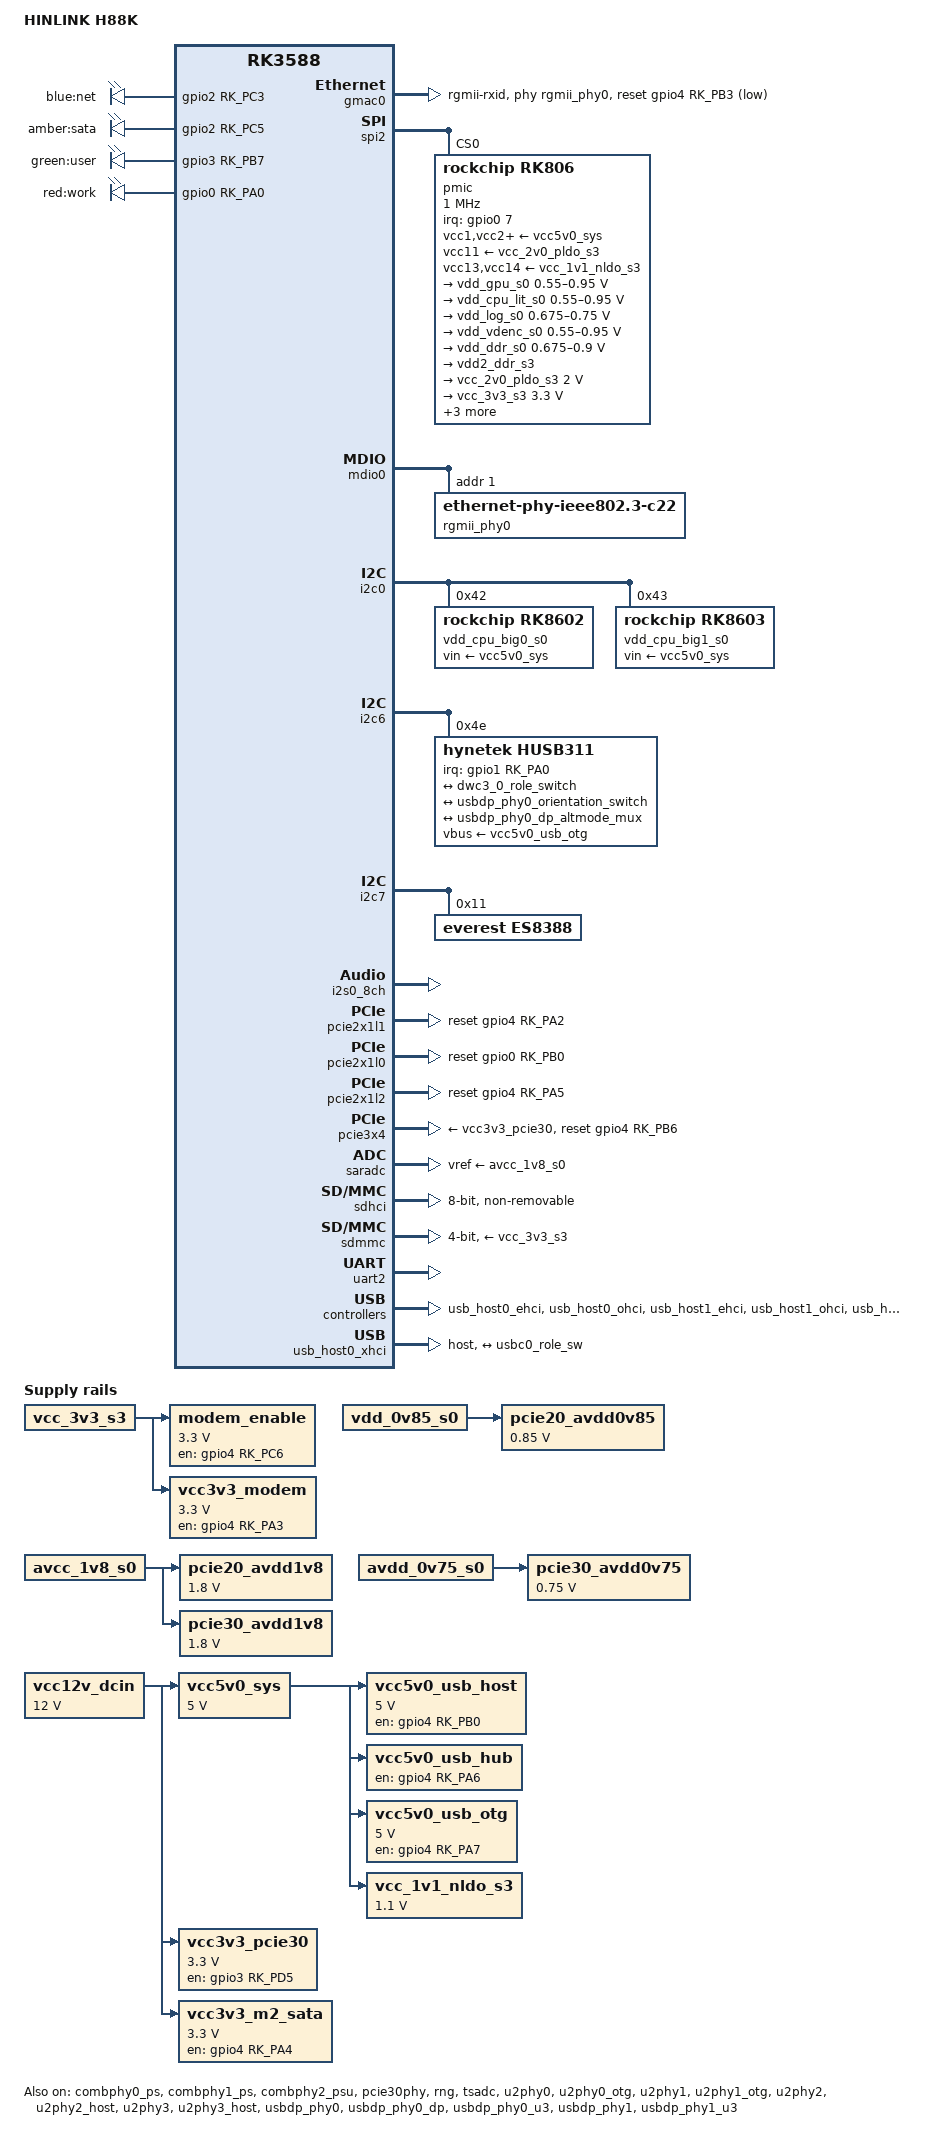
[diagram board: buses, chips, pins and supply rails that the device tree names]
// SPDX-License-Identifier: GPL-2.0-or-later OR MIT
/*
 * Copyright (c) 2022 FriendlyElec Computer Tech. Co., Ltd.
 * (http://www.friendlyelec.com)
 *
 */

/dts-v1/;

#include <dt-bindings/gpio/gpio.h>
#include <dt-bindings/input/input.h>
#include <dt-bindings/leds/common.h>
#include <dt-bindings/pinctrl/rockchip.h>
#include <dt-bindings/usb/pd.h>
#include "rk3588.dtsi"

/ {
	model = "HINLINK H88K";
	compatible = "hinlink,h88k", "rockchip,rk3588";

	aliases {
		mmc0 = &sdmmc;
		mmc1 = &sdhci;
		mmc2 = &sdio;
	};

	chosen {
		stdout-path = "serial2:1500000n8";
	};

	leds {
		compatible = "gpio-leds";
		pinctrl-names = "default";
		pinctrl-0 = <&led_net_en>, <&led_sata_en>,
			    <&led_user_en>, <&led_work_en>;

		net {
			label = "blue:net";
			gpios = <&gpio2 RK_PC3 GPIO_ACTIVE_HIGH>;
		};

		sata {
			label = "amber:sata";
			gpios = <&gpio2 RK_PC5 GPIO_ACTIVE_HIGH>;
		};

		user {
			label = "green:user";
			gpios = <&gpio3 RK_PB7 GPIO_ACTIVE_HIGH>;
		};

		work {
			label = "red:work";
			gpios = <&gpio0 RK_PA0 GPIO_ACTIVE_HIGH>;
			linux,default-trigger = "default-on";
		};
	};

	vcc12v_dcin: vcc12v-dcin {
		compatible = "regulator-fixed";
		regulator-name = "vcc12v_dcin";
		regulator-always-on;
		regulator-boot-on;
		regulator-min-microvolt = <12000000>;
		regulator-max-microvolt = <12000000>;
	};

	vcc5v0_sys: vcc5v0-sys {
		compatible = "regulator-fixed";
		regulator-always-on;
		regulator-boot-on;
		regulator-min-microvolt = <5000000>;
		regulator-max-microvolt = <5000000>;
		regulator-name = "vcc5v0_sys";
		vin-supply = <&vcc12v_dcin>;
	};

	vcc5v0_usb_host: vcc5v0-usb-host {
		compatible = "regulator-fixed";
		regulator-name = "vcc5v0_usb_host";
		regulator-min-microvolt = <5000000>;
		regulator-max-microvolt = <5000000>;
		enable-active-high;
		gpio = <&gpio4 RK_PB0 GPIO_ACTIVE_HIGH>;
		pinctrl-names = "default";
		pinctrl-0 = <&vcc5v0_usb_host_en>;
		vin-supply = <&vcc5v0_sys>;
	};

	vcc5v0_usb_hub: vcc5v0-usb-hub {
		compatible = "regulator-fixed";
		regulator-name = "vcc5v0_usb_hub";
		regulator-always-on;
		enable-active-high;
		gpio = <&gpio4 RK_PA6 GPIO_ACTIVE_HIGH>;
		pinctrl-names = "default";
		pinctrl-0 = <&vcc5v0_usb_hub_en>;
		startup-delay-us = <50000>;
		vin-supply = <&vcc5v0_sys>;
	};

	vcc5v0_usb_otg: vcc5v0-usb-otg {
		compatible = "regulator-fixed";
		enable-active-high;
		gpio = <&gpio4 RK_PA7 GPIO_ACTIVE_HIGH>;
		pinctrl-names = "default";
		pinctrl-0 = <&vcc5v0_usb_otg_en>;
		regulator-min-microvolt = <5000000>;
		regulator-max-microvolt = <5000000>;
		regulator-name = "vcc5v0_usb_otg";
		vin-supply = <&vcc5v0_sys>;
	};

	modem_enable: modem-enable {
		compatible = "regulator-fixed";
		enable-active-high;
		regulator-always-on;
		regulator-boot-on;
		gpios = <&gpio4 RK_PC6 GPIO_ACTIVE_HIGH>;
		regulator-min-microvolt = <3300000>;
		regulator-max-microvolt = <3300000>;
		regulator-name = "modem-enable";
		vin-supply = <&vcc_3v3_s3>;
		startup-delay-us = <500000>;
		pinctrl-names = "default";
		pintctrl-0 = <&modem_reset_en>;
	};

	vcc3v3_modem: vcc3v3-modem {
		compatible = "regulator-fixed";
		enable-active-high;
		regulator-always-on;
		regulator-boot-on;
		gpios = <&gpio4 RK_PA3 GPIO_ACTIVE_HIGH>;
		regulator-min-microvolt = <3300000>;
		regulator-max-microvolt = <3300000>;
		regulator-name = "vcc3v3_modem";
		pinctrl-names = "default";
		pintctrl-0 = <&modem_power_en>;
		vin-supply = <&vcc_3v3_s3>;
	};

	pcie20_avdd0v85: pcie20-avdd0v85 {
		compatible = "regulator-fixed";
		regulator-name = "pcie20_avdd0v85";
		regulator-boot-on;
		regulator-always-on;
		regulator-min-microvolt = <850000>;
		regulator-max-microvolt = <850000>;
		vin-supply = <&vdd_0v85_s0>;
	};

	pcie20_avdd1v8: pcie20-avdd1v8 {
		compatible = "regulator-fixed";
		regulator-name = "pcie20_avdd1v8";
		regulator-boot-on;
		regulator-always-on;
		regulator-min-microvolt = <1800000>;
		regulator-max-microvolt = <1800000>;
		vin-supply = <&avcc_1v8_s0>;
	};

	pcie30_avdd0v75: pcie30-avdd0v75 {
		compatible = "regulator-fixed";
		regulator-name = "pcie30_avdd0v75";
		regulator-boot-on;
		regulator-always-on;
		regulator-min-microvolt = <750000>;
		regulator-max-microvolt = <750000>;
		vin-supply = <&avdd_0v75_s0>;
	};

	pcie30_avdd1v8: pcie30-avdd1v8 {
		compatible = "regulator-fixed";
		regulator-name = "pcie30_avdd1v8";
		regulator-boot-on;
		regulator-always-on;
		regulator-min-microvolt = <1800000>;
		regulator-max-microvolt = <1800000>;
		vin-supply = <&avcc_1v8_s0>;
	};

	vcc3v3_pcie30: vcc3v3-pcie30 {
		compatible = "regulator-fixed";
		regulator-name = "vcc3v3_pcie30";
		regulator-min-microvolt = <3300000>;
		regulator-max-microvolt = <3300000>;
		enable-active-high;
		gpios = <&gpio3 RK_PD5 GPIO_ACTIVE_HIGH>;
		startup-delay-us = <5000>;
		vin-supply = <&vcc12v_dcin>;
	};

	vcc_1v1_nldo_s3: vcc-1v1-nldo-s3 {
		compatible = "regulator-fixed";
		regulator-name = "vcc_1v1_nldo_s3";
		regulator-always-on;
		regulator-boot-on;
		regulator-min-microvolt = <1100000>;
		regulator-max-microvolt = <1100000>;
		vin-supply = <&vcc5v0_sys>;
	};

	vcc3v3_m2_sata: vcc3v3-m2-sata {
		compatible = "regulator-fixed";
		regulator-name = "vcc3v3_m2_sata";
		regulator-min-microvolt = <3300000>;
		regulator-max-microvolt = <3300000>;
		regulator-always-on;
		regulator-boot-on;
		enable-active-high;
		gpios = <&gpio4 RK_PA4 GPIO_ACTIVE_HIGH>;
		vin-supply = <&vcc12v_dcin>;
	};
};

&combphy0_ps {
	status = "okay";
};

&combphy1_ps {
	status = "okay";
};

&combphy2_psu {
	status = "okay";
};

&cpu_b0 {
	cpu-supply = <&vdd_cpu_big0_s0>;
	mem-supply = <&vdd_cpu_big0_s0>;
};

&cpu_b1 {
	cpu-supply = <&vdd_cpu_big0_s0>;
	mem-supply = <&vdd_cpu_big0_s0>;
};

&cpu_b2 {
	cpu-supply = <&vdd_cpu_big1_s0>;
	mem-supply = <&vdd_cpu_big1_s0>;
};

&cpu_b3 {
	cpu-supply = <&vdd_cpu_big1_s0>;
	mem-supply = <&vdd_cpu_big1_s0>;
};

&cpu_l0 {
	cpu-supply = <&vdd_cpu_lit_s0>;
	mem-supply = <&vdd_cpu_lit_mem_s0>;
};

&cpu_l1 {
	cpu-supply = <&vdd_cpu_lit_s0>;
	mem-supply = <&vdd_cpu_lit_mem_s0>;
};

&cpu_l2 {
	cpu-supply = <&vdd_cpu_lit_s0>;
	mem-supply = <&vdd_cpu_lit_mem_s0>;
};

&cpu_l3 {
	cpu-supply = <&vdd_cpu_lit_s0>;
	mem-supply = <&vdd_cpu_lit_mem_s0>;
};

&gmac0 {
	/* Use rgmii-rxid mode to disable rx delay inside Soc */
	phy-mode = "rgmii-rxid";
	clock_in_out = "output";

	snps,reset-gpio = <&gpio4 RK_PB3 GPIO_ACTIVE_LOW>;
	snps,reset-active-low;
	/* Reset time is 20ms, 100ms for rtl8211f */
	snps,reset-delays-us = <0 20000 100000>;

	pinctrl-names = "default";
	pinctrl-0 = <&gmac0_miim
		     &gmac0_tx_bus2
		     &gmac0_rx_bus2
		     &gmac0_rgmii_clk
		     &gmac0_rgmii_bus>;

	tx_delay = <0x44>;
	/* rx_delay = <0x4f>; */

	phy-handle = <&rgmii_phy0>;
	label = "eth2";
	status = "okay";
};

&spi2 {
	status = "okay";
	assigned-clocks = <&cru CLK_SPI2>;
	assigned-clock-rates = <200000000>;
	pinctrl-names = "default";
	pinctrl-0 = <&spi2m2_cs0 &spi2m2_pins>;
	num-cs = <1>;

	pmic@0 {
		compatible = "rockchip,rk806";
		spi-max-frequency = <1000000>;
		reg = <0x0>;

		interrupt-parent = <&gpio0>;
		interrupts = <7 IRQ_TYPE_LEVEL_LOW>;

		pinctrl-names = "default";
		pinctrl-0 = <&pmic_pins>, <&rk806_dvs1_null>,
			    <&rk806_dvs2_null>, <&rk806_dvs3_null>;

		vcc1-supply = <&vcc5v0_sys>;
		vcc2-supply = <&vcc5v0_sys>;
		vcc3-supply = <&vcc5v0_sys>;
		vcc4-supply = <&vcc5v0_sys>;
		vcc5-supply = <&vcc5v0_sys>;
		vcc6-supply = <&vcc5v0_sys>;
		vcc7-supply = <&vcc5v0_sys>;
		vcc8-supply = <&vcc5v0_sys>;
		vcc9-supply = <&vcc5v0_sys>;
		vcc10-supply = <&vcc5v0_sys>;
		vcc11-supply = <&vcc_2v0_pldo_s3>;
		vcc12-supply = <&vcc5v0_sys>;
		vcc13-supply = <&vcc_1v1_nldo_s3>;
		vcc14-supply = <&vcc_1v1_nldo_s3>;
		vcca-supply = <&vcc5v0_sys>;

		gpio-controller;
		#gpio-cells = <2>;

		rk806_dvs1_null: dvs1-null-pins {
			pins = "gpio_pwrctrl2";
			function = "pin_fun0";
		};

		rk806_dvs2_null: dvs2-null-pins {
			pins = "gpio_pwrctrl2";
			function = "pin_fun0";
		};

		rk806_dvs3_null: dvs3-null-pins {
			pins = "gpio_pwrctrl3";
			function = "pin_fun0";
		};

		regulators {
			vdd_gpu_s0: vdd_gpu_mem_s0: dcdc-reg1 {
				regulator-boot-on;
				regulator-min-microvolt = <550000>;
				regulator-max-microvolt = <950000>;
				regulator-ramp-delay = <12500>;
				regulator-name = "vdd_gpu_s0";
				regulator-enable-ramp-delay = <400>;

				regulator-state-mem {
					regulator-off-in-suspend;
				};
			};

			vdd_cpu_lit_s0: vdd_cpu_lit_mem_s0: dcdc-reg2 {
				regulator-always-on;
				regulator-boot-on;
				regulator-min-microvolt = <550000>;
				regulator-max-microvolt = <950000>;
				regulator-ramp-delay = <12500>;
				regulator-name = "vdd_cpu_lit_s0";

				regulator-state-mem {
					regulator-off-in-suspend;
				};
			};

			vdd_log_s0: dcdc-reg3 {
				regulator-always-on;
				regulator-boot-on;
				regulator-min-microvolt = <675000>;
				regulator-max-microvolt = <750000>;
				regulator-ramp-delay = <12500>;
				regulator-name = "vdd_log_s0";

				regulator-state-mem {
					regulator-off-in-suspend;
					regulator-suspend-microvolt = <750000>;
				};
			};

			vdd_vdenc_s0: vdd_vdenc_mem_s0: dcdc-reg4 {
				regulator-always-on;
				regulator-boot-on;
				regulator-min-microvolt = <550000>;
				regulator-max-microvolt = <950000>;
				regulator-init-microvolt = <750000>;
				regulator-ramp-delay = <12500>;
				regulator-name = "vdd_vdenc_s0";

				regulator-state-mem {
					regulator-off-in-suspend;
				};
			};

			vdd_ddr_s0: dcdc-reg5 {
				regulator-always-on;
				regulator-boot-on;
				regulator-min-microvolt = <675000>;
				regulator-max-microvolt = <900000>;
				regulator-ramp-delay = <12500>;
				regulator-name = "vdd_ddr_s0";

				regulator-state-mem {
					regulator-off-in-suspend;
					regulator-suspend-microvolt = <850000>;
				};
			};

			vdd2_ddr_s3: dcdc-reg6 {
				regulator-always-on;
				regulator-boot-on;
				regulator-name = "vdd2_ddr_s3";

				regulator-state-mem {
					regulator-on-in-suspend;
				};
			};

			vcc_2v0_pldo_s3: dcdc-reg7 {
				regulator-always-on;
				regulator-boot-on;
				regulator-min-microvolt = <2000000>;
				regulator-max-microvolt = <2000000>;
				regulator-ramp-delay = <12500>;
				regulator-name = "vdd_2v0_pldo_s3";

				regulator-state-mem {
					regulator-on-in-suspend;
					regulator-suspend-microvolt = <2000000>;
				};
			};

			vcc_3v3_s3: dcdc-reg8 {
				regulator-always-on;
				regulator-boot-on;
				regulator-min-microvolt = <3300000>;
				regulator-max-microvolt = <3300000>;
				regulator-name = "vcc_3v3_s3";

				regulator-state-mem {
					regulator-on-in-suspend;
					regulator-suspend-microvolt = <3300000>;
				};
			};

			vddq_ddr_s0: dcdc-reg9 {
				regulator-always-on;
				regulator-boot-on;
				regulator-name = "vddq_ddr_s0";

				regulator-state-mem {
					regulator-off-in-suspend;
				};
			};

			vcc_1v8_s3: dcdc-reg10 {
				regulator-always-on;
				regulator-boot-on;
				regulator-min-microvolt = <1800000>;
				regulator-max-microvolt = <1800000>;
				regulator-name = "vcc_1v8_s3";

				regulator-state-mem {
					regulator-on-in-suspend;
					regulator-suspend-microvolt = <1800000>;
				};
			};

			avcc_1v8_s0: pldo-reg1 {
				regulator-always-on;
				regulator-boot-on;
				regulator-min-microvolt = <1800000>;
				regulator-max-microvolt = <1800000>;
				regulator-name = "avcc_1v8_s0";

				regulator-state-mem {
					regulator-off-in-suspend;
				};
			};

			vcc_1v8_s0: pldo-reg2 {
				regulator-always-on;
				regulator-boot-on;
				regulator-min-microvolt = <1800000>;
				regulator-max-microvolt = <1800000>;
				regulator-name = "vcc_1v8_s0";

				regulator-state-mem {
					regulator-off-in-suspend;
					regulator-suspend-microvolt = <1800000>;
				};
			};

			avdd_1v2_s0: pldo-reg3 {
				regulator-always-on;
				regulator-boot-on;
				regulator-min-microvolt = <1200000>;
				regulator-max-microvolt = <1200000>;
				regulator-name = "avdd_1v2_s0";

				regulator-state-mem {
					regulator-off-in-suspend;
				};
			};

			vcc_3v3_s0: pldo-reg4 {
				regulator-always-on;
				regulator-boot-on;
				regulator-min-microvolt = <3300000>;
				regulator-max-microvolt = <3300000>;
				regulator-ramp-delay = <12500>;
				regulator-name = "vcc_3v3_s0";

				regulator-state-mem {
					regulator-off-in-suspend;
				};
			};

			vccio_sd_s0: pldo-reg5 {
				regulator-always-on;
				regulator-boot-on;
				regulator-min-microvolt = <1800000>;
				regulator-max-microvolt = <3300000>;
				regulator-ramp-delay = <12500>;
				regulator-name = "vccio_sd_s0";

				regulator-state-mem {
					regulator-off-in-suspend;
				};
			};

			pldo6_s3: pldo-reg6 {
				regulator-always-on;
				regulator-boot-on;
				regulator-min-microvolt = <1800000>;
				regulator-max-microvolt = <1800000>;
				regulator-name = "pldo6_s3";

				regulator-state-mem {
					regulator-on-in-suspend;
					regulator-suspend-microvolt = <1800000>;
				};
			};

			vdd_0v75_s3: nldo-reg1 {
				regulator-always-on;
				regulator-boot-on;
				regulator-min-microvolt = <750000>;
				regulator-max-microvolt = <750000>;
				regulator-name = "vdd_0v75_s3";

				regulator-state-mem {
					regulator-on-in-suspend;
					regulator-suspend-microvolt = <750000>;
				};
			};

			vdd_ddr_pll_s0: nldo-reg2 {
				regulator-always-on;
				regulator-boot-on;
				regulator-min-microvolt = <850000>;
				regulator-max-microvolt = <850000>;
				regulator-name = "vdd_ddr_pll_s0";

				regulator-state-mem {
					regulator-off-in-suspend;
					regulator-suspend-microvolt = <850000>;
				};
			};

			avdd_0v75_s0: nldo-reg3 {
				regulator-always-on;
				regulator-boot-on;
				regulator-min-microvolt = <750000>;
				regulator-max-microvolt = <750000>;
				regulator-name = "avdd_0v75_s0";

				regulator-state-mem {
					regulator-off-in-suspend;
				};
			};

			vdd_0v85_s0: nldo-reg4 {
				regulator-always-on;
				regulator-boot-on;
				regulator-min-microvolt = <850000>;
				regulator-max-microvolt = <850000>;
				regulator-name = "vdd_0v85_s0";

				regulator-state-mem {
					regulator-off-in-suspend;
				};
			};

			vdd_0v75_s0: nldo-reg5 {
				regulator-always-on;
				regulator-boot-on;
				regulator-min-microvolt = <750000>;
				regulator-max-microvolt = <750000>;
				regulator-name = "vdd_0v75_s0";

				regulator-state-mem {
					regulator-off-in-suspend;
				};
			};
		};
	};
};

&mdio0 {
	rgmii_phy0: phy@1 {
		compatible = "ethernet-phy-ieee802.3-c22";
		reg = <0x1>;
	};
};

&i2c0 {
	pinctrl-names = "default";
	pinctrl-0 = <&i2c0m2_xfer>;
	status = "okay";

	vdd_cpu_big0_s0: regulator@42 {
		compatible = "rockchip,rk8602";
		reg = <0x42>;
		fcs,suspend-voltage-selector = <1>;
		regulator-name = "vdd_cpu_big0_s0";
		regulator-always-on;
		regulator-boot-on;
		regulator-min-microvolt = <550000>;
		regulator-max-microvolt = <1050000>;
		regulator-ramp-delay = <2300>;
		vin-supply = <&vcc5v0_sys>;

		regulator-state-mem {
			regulator-off-in-suspend;
		};
	};

	vdd_cpu_big1_s0: regulator@43 {
		compatible = "rockchip,rk8603", "rockchip,rk8602";
		reg = <0x43>;
		fcs,suspend-voltage-selector = <1>;
		regulator-name = "vdd_cpu_big1_s0";
		regulator-always-on;
		regulator-boot-on;
		regulator-min-microvolt = <550000>;
		regulator-max-microvolt = <1050000>;
		regulator-ramp-delay = <2300>;
		vin-supply = <&vcc5v0_sys>;

		regulator-state-mem {
			regulator-off-in-suspend;
		};
	};
};

&i2c6 {
	status = "okay";

	husb311@4e {
		compatible = "hynetek,husb311";
		reg = <0x4e>;
		interrupt-parent = <&gpio1>;
		interrupts = <RK_PA0 IRQ_TYPE_LEVEL_LOW>;
		pinctrl-names = "default";
		pinctrl-0 = <&usbc0_int>;
		vbus-supply = <&vcc5v0_usb_otg>;

		ports {
			#address-cells = <1>;
			#size-cells = <0>;

			port@0 {
				reg = <0>;
				usbc0_role_sw: endpoint@0 {
					remote-endpoint = <&dwc3_0_role_switch>;
				};
			};
		};

		connector {
			compatible = "usb-c-connector";
			label = "USB-C";
			data-role = "dual";
			power-role = "dual";
			try-power-role = "sink";
			op-sink-microwatt = <1000000>;
			sink-pdos =
				<PDO_FIXED(5000, 1000, PDO_FIXED_USB_COMM)>;
			source-pdos =
				<PDO_FIXED(5000, 3000, PDO_FIXED_USB_COMM)>;

			altmodes {
				#address-cells = <1>;
				#size-cells = <0>;

				altmode@0 {
					reg = <0>;
					svid = <0xff01>;
					vdo = <0xffffffff>;
				};
			};

			ports {
				#address-cells = <1>;
				#size-cells = <0>;

				port@0 {
					reg = <0>;
					usbc0_orien_sw: endpoint {
						remote-endpoint = <&usbdp_phy0_orientation_switch>;
					};
				};

				port@1 {
					reg = <1>;
					dp_altmode_mux: endpoint {
						remote-endpoint = <&usbdp_phy0_dp_altmode_mux>;
					};
				};
			};
		};
	};
};

&i2c7 {
	status = "okay";

	es8388: es8388@11 {
		compatible = "everest,es8388", "everest,es8323";
		reg = <0x11>;
		clocks = <&cru I2S0_8CH_MCLKOUT>;
		clock-names = "mclk";
		assigned-clocks = <&cru I2S0_8CH_MCLKOUT>;
		assigned-clock-rates = <12288000>;
		pinctrl-names = "default";
		pinctrl-0 = <&i2s0_mclk>;
		#sound-dai-cells = <0>;
	};
};

&i2s0_8ch {
	status = "okay";
	rockchip,playback-channels = <2>;
	rockchip,capture-channels = <2>;
	#sound-dai-cells = <0>;
	pinctrl-names = "default";
	pinctrl-0 = <&i2s0_lrck
			 &i2s0_sclk
			 &i2s0_sdi0
			 &i2s0_sdo0>;
};

/* rtl8125b 2.5g ethernet */
&pcie2x1l1 {
	reset-gpios = <&gpio4 RK_PA2 GPIO_ACTIVE_HIGH>;
	status = "okay";
	
	pcie@0,0 {
		reg = <0x00400000 0 0 0 0>;
		#address-cells = <3>;
		#size-cells = <2>;

		rtl8125_1: pcie@40,0 {
			reg = <0x000000 0 0 0 0>;
			label = "eth0";
		};
	};
};

&sata2 {
	status = "disabled";
}; 

&combphy2_psu {
	status = "okay";
};

/* pce2x1l0 | sata1 => combphy1_ps */
/* m.2 wifi */
&pcie2x1l0 {
	reset-gpios = <&gpio0 RK_PB0 GPIO_ACTIVE_HIGH>;
	status = "okay";

	pcie@0,0 {
		reg = <0x00300000 0 0 0 0>;
		#address-cells = <3>;
		#size-cells = <2>;

		rtl8125_2: pcie@30,0 {
			reg = <0x000000 0 0 0 0>;
			label = "eth1";
		};
	};
};

&sata1 {
	status = "disabled";
}; 

&combphy1_ps {
	status = "okay";
};

/* pcie2x1l2 | sata0 => combphy0_ps */
/* rtl8125b 2.5g ethernet */
&pcie2x1l2 {
	reset-gpios = <&gpio4 RK_PA5 GPIO_ACTIVE_HIGH>;
	status = "okay";
};

&sata0 {
	status = "disabled";
};

&combphy0_ps {
	status = "okay";
};

/* pcie3x4 => pcie30phy */
&pcie3x4 {
	reset-gpios = <&gpio4 RK_PB6 GPIO_ACTIVE_HIGH>;
	vpcie3v3-supply = <&vcc3v3_pcie30>;
	status = "okay";
};

&pcie30phy {
	status = "okay";
};


&pinctrl {
	leds {
		led_net_en: led_net_en {
			rockchip,pins = <2 RK_PC3 RK_FUNC_GPIO &pcfg_pull_none>;
		};

		led_sata_en: led_sata_en {
			rockchip,pins = <2 RK_PC5 RK_FUNC_GPIO &pcfg_pull_none>;
		};

		led_user_en: led_user_en {
			rockchip,pins = <3 RK_PB7 RK_FUNC_GPIO &pcfg_pull_none>;
		};

		led_work_en: led_work_en {
			rockchip,pins = <0 RK_PA0 RK_FUNC_GPIO &pcfg_pull_none>;
		};
	};

	rockchip-key {
		reset_button_pin: reset-button-pin {
			rockchip,pins = <1 RK_PC0 RK_FUNC_GPIO &pcfg_pull_up>;
		};
	};

	sdmmc {
		vcc3v3_sd_en: vcc3v3-sd-en {
			rockchip,pins = <4 RK_PA5 RK_FUNC_GPIO &pcfg_pull_up>;
		};
	};

	usb {
		vcc5v0_usb_host_en: vcc5v0_usb_host_en {
			rockchip,pins = <4 RK_PB0 RK_FUNC_GPIO &pcfg_pull_none>;
		};

		vcc5v0_usb_hub_en: vcc5v0_usb_hub_en {
			rockchip,pins = <4 RK_PA6 RK_FUNC_GPIO &pcfg_pull_none>;
		};

		vcc5v0_usb_otg_en: vcc5v0_usb_otg_en {
			rockchip,pins = <4 RK_PA7 RK_FUNC_GPIO &pcfg_pull_none>;
		};
	};

	modem {
		modem_power_en: modem-power-en {
			rockchip,pins = <4 RK_PA3 RK_FUNC_GPIO &pcfg_pull_none>;
		};

		modem_reset_en: modem-reset-en {
			rockchip,pins = <4 RK_PC6 RK_FUNC_GPIO &pcfg_pull_none>;
		};
	};

	usb-typec {
		usbc0_int: usbc0-int {
			rockchip,pins = <1 RK_PA0 RK_FUNC_GPIO &pcfg_pull_up>;
		};
	};

	sata {
		sata0_pm_reset: sata0-pm-reset {
			rockchip,pins = <4 RK_PA0 RK_FUNC_GPIO &pcfg_output_high>;
		};
	};
};

&rng {
	status = "okay";
};

&saradc {
	vref-supply = <&avcc_1v8_s0>;
	status = "okay";
};

&sdhci {
	assigned-clock-rates = <200000000>, <24000000>, <200000000>;
	bus-width = <8>;
	max-frequency = <200000000>;
	mmc-hs200-1_8v;		
	non-removable;	
	pinctrl-names = "default";
	pinctrl-0 = <&emmc_bus8 &emmc_clk &emmc_cmd>;	
	supports-emmc;
	status = "okay";
};

&sdmmc {
	bus-width = <4>;
	cap-mmc-highspeed;
	cap-sd-highspeed;
	disable-wp;
	no-mmc;
	no-sdio;
	max-frequency = <50000000>;
	vmmc-supply = <&vcc_3v3_s3>;
	vqmmc-supply = <&vccio_sd_s0>;
	status = "okay";
};

&tsadc {
	status = "okay";
};

&uart2 {
	pinctrl-0 = <&uart2m0_xfer>;
	status = "okay";
};
&u2phy0 {
	status = "okay";
};

&u2phy0_otg {
	status = "okay";
};

&u2phy1 {
	status = "okay";
};

&u2phy1_otg {
	phy-supply = <&vcc5v0_usb_host>;
	status = "okay";
};

&u2phy2 {
	status = "okay";
};

&u2phy2_host {
	status = "okay";
};

&u2phy3 {
	status = "okay";
};

&u2phy3_host {
	status = "okay";
};

&usbdp_phy0 {
	orientation-switch;
	rockchip,dp-lane-mux = < 0 1 2 3 >;
	sbu1-dc-gpios = <&gpio0 RK_PC6 GPIO_ACTIVE_HIGH>;
	sbu2-dc-gpios = <&gpio0 RK_PD3 GPIO_ACTIVE_HIGH>;
	svid = <0xff01>;
	status = "okay";

	port {
		#address-cells = <1>;
		#size-cells = <0>;
		usbdp_phy0_orientation_switch: endpoint@0 {
			reg = <0>;
			remote-endpoint = <&usbc0_orien_sw>;
		};

		usbdp_phy0_dp_altmode_mux: endpoint@1 {
			reg = <1>;
			remote-endpoint = <&dp_altmode_mux>;
		};
	};
};

&usbdp_phy0_dp {
	status = "okay";
};

&usbdp_phy0_u3 {
	status = "okay";
};

&usbdp_phy1 {
	status = "okay";
};

&usbdp_phy1_u3 {
	status = "okay";
};

&usb_host0_ehci {
	status = "okay";
};

&usb_host0_ohci {
	status = "okay";
};

&usb_host0_xhci {
	dr_mode = "host";
	usb-role-switch;
	status = "okay";

	port {
		#address-cells = <1>;
		#size-cells = <0>;
		dwc3_0_role_switch: endpoint@0 {
			reg = <0>;
			remote-endpoint = <&usbc0_role_sw>;
		};
	};
};

&usb_host1_ehci {
	status = "okay";
};

&usb_host1_ohci {
	status = "okay";
};

&usb_host1_xhci {
	status = "okay";
};
